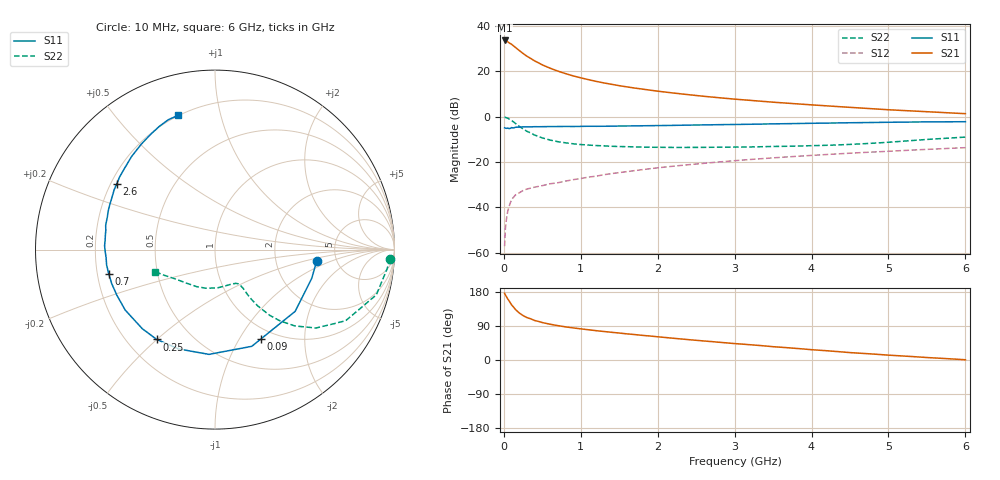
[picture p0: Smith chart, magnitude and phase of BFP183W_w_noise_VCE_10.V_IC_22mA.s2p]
! (c) 2017  Infineon Technologies AG, Munich
! Infineon Technologies  Discrete & RF Semiconductors
! BFP183W
! VCE =  10. V,  IC =  22 mA
! Common Emitter S-Parameters:  Jan 2017
# GHz  S  MA  R  50
!  f  S11  S21  S12  S22
! GHz  MAG  ANG  MAG  ANG  MAG  ANG  MAG  ANG
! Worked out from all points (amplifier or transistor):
!   77 points, 10 MHz to 6 GHz, reference 50 ohm
!   highest |S21| = 33.6 dB at 10 MHz (marker M1)
!   |S21| within 3 dB of that: start of sweep to 148.9 MHz
!   unconditionally stable (mu >= 1): 1.174 GHz to 3.563 GHz
!   at 130 MHz: K = 0.24, MSG = 33.2 dB, |S12| = -35.3 dB
!   at 2.2 GHz: K = 1.06, MAG = 14.6 dB, |S12| = -21.8 dB
!   at 6 GHz: K = 0.86, MSG = 7.5 dB, |S12| = -13.6 dB
!   lowest NFmin = 1.22 dB at 450 MHz
!   S11 on the Smith chart (normalised r, x): 10 MHz: 3.50, -0.68; 90 MHz: 0.85, -1.24; 250 MHz: 0.32, -0.50; 700 MHz: 0.25, -0.10; 2.6 GHz: 0.22, +0.29; 6 GHz: 0.20, +0.75
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0.01  0.5695 -6.6  47.94 176.0  0.0014 78.7  0.9772 -3.0
0.02  0.5624 -16.4  47.16 171.7  0.0034 84.9  0.9648 -6.4
0.05  0.5639 -37.6  44.89 161.2  0.0081 71.6  0.9334 -15.7
0.09  0.5604 -63.1  40.36 149.0  0.0134 65.6  0.8459 -25.8
0.1  0.5765 -69.2  39.55 145.5  0.0147 64.8  0.8286 -28.6
0.15  0.5848 -93.3  33.83 133.4  0.0188 55.4  0.7127 -37.8
0.2  0.5895 -110.2  28.78 124.2  0.021 51.4  0.6157 -43.7
0.25  0.5966 -123.0  24.77 117.2  0.0236 47.3  0.5382 -47.6
0.3  0.5986 -132.6  21.53 112.0  0.0254 46.2  0.4772 -50.2
0.4  0.6031 -146.0  17 104.2  0.028 45.7  0.3938 -52.8
0.5  0.6031 -155.0  13.89 98.8  0.0302 47.3  0.341 -53.8
0.6  0.606 -161.9  11.76 94.4  0.0332 47.5  0.3062 -54.1
0.7  0.6073 -167.3  10.14 90.8  0.0349 49.8  0.2818 -54.0
0.9  0.6084 -175.7  7.945 84.7  0.0409 52.5  0.253 -54.4
1.1  0.6156 178.0  6.555 79.8  0.0466 54.8  0.237 -55.1
1.5  0.6237 167.6  4.832 71.1  0.0586 57.3  0.2199 -58.9
2.1  0.6401 155.0  3.491 59.4  0.0778 58.3  0.2109 -69.2
2.6  0.659 146.1  2.818 50.2  0.0938 57.2  0.211 -80.9
3.1  0.6774 138.1  2.365 41.9  0.1105 55.5  0.2146 -93.5
4.1  0.7194 124.0  1.778 25.8  0.1435 50.6  0.2319 -119.1
5.1  0.7565 113.3  1.395 11.6  0.1764 44.9  0.2812 -145.3
6  0.7758 105.2  1.166 0.6  0.2078 39.1  0.3551 -159.7
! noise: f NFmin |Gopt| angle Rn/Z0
0.45  1.22  0.22  174  0.1
0.9  1.25  0.26  177  0.09
1.9  1.73  0.41  -161  0.09
2.4  1.96  0.46  -155  0.12
